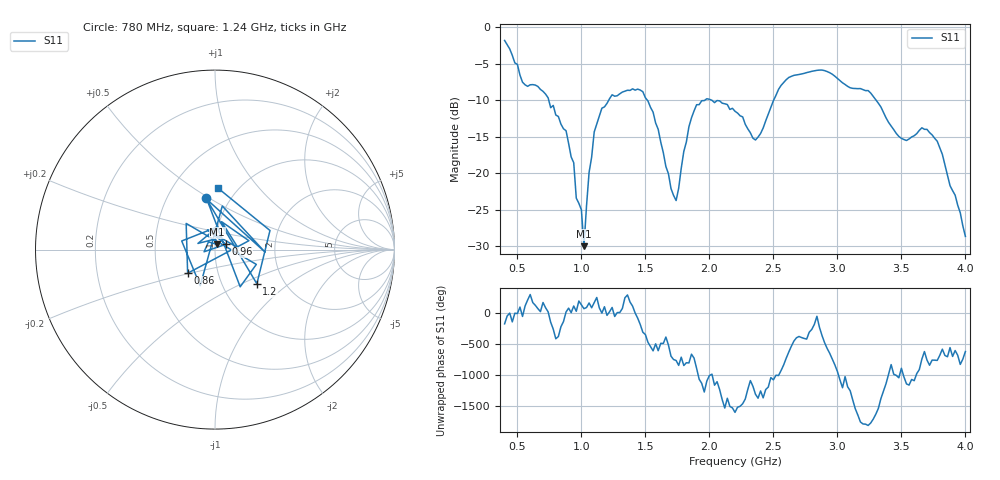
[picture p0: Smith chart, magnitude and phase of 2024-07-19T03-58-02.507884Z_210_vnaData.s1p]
!Created with skrf (http://scikit-rf.org).
# Hz S RI R 50.0
!freq ReS11 ImS11
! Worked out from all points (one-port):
!   181 points, 400 MHz to 4 GHz, reference 50 ohm
!   lowest |S11| = -30.0 dB at 1.02 GHz (marker M1), VSWR 1.07, Z = 51.1 + j2.99 ohm
!   |S11| at or under -10 dB: 744.9 MHz to 1.213 GHz (468.3 MHz wide, 47.8 % of centre); 2.019 GHz to 2.502 GHz (482.9 MHz wide, 21.4 % of centre); 3.303 GHz to end of sweep (the widest 3 of 4)
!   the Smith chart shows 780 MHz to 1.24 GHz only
!   S11 on the Smith chart (normalised r, x): 780 MHz: 0.77, +0.49; 860 MHz: 0.71, -0.20; 960 MHz: 1.13, +0.07; 1.2 GHz: 1.46, -0.61; 1.24 GHz: 0.81, +0.63
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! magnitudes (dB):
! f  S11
! 400 MHz  -1.8
! 540 MHz  -7.5
! 780 MHz  -10.7
! 860 MHz  -13.9
! 940 MHz  -18.6
! 960 MHz  -23.4
! 1 GHz  -25.0
! 1.02 GHz  -30.0
! 1.06 GHz  -19.9
! 1.1 GHz  -14.4
! 1.2 GHz  -10.4
! 1.24 GHz  -9.2
! 1.3 GHz  -9.1
! 1.48 GHz  -8.8
! 1.6 GHz  -14.0
! 1.7 GHz  -22.1
! 1.74 GHz  -23.8
! 1.76 GHz  -22.1
! 1.84 GHz  -13.6
! 1.9 GHz  -10.6
! 2.2 GHz  -11.5
! 2.36 GHz  -15.5
! 2.66 GHz  -6.6
! 3.1 GHz  -8.3
! 3.24 GHz  -8.7
! 3.56 GHz  -15.3
! 3.78 GHz  -15.6
! 4 GHz  -28.7
